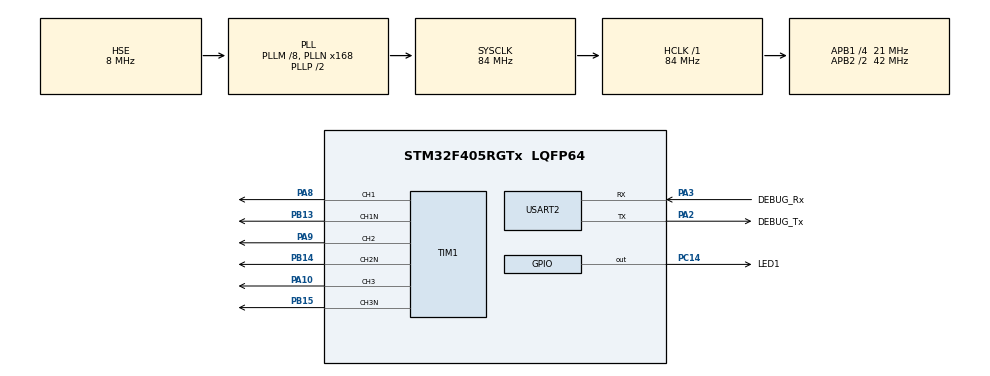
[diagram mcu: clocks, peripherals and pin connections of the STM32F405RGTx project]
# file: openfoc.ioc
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Mcu.Family=STM32F4
Mcu.Name=STM32F405RGTx
Mcu.Package=LQFP64
NVIC.PriorityGroup=NVIC_PRIORITYGROUP_2
NVIC.USART2_IRQn=true\:3\:2\:true\:false\:true\:true\:true\:true
PA10.Signal=S_TIM1_CH3
PA13.Mode=Serial_Wire
PA13.Signal=SYS_JTMS-SWDIO
PA14.Mode=Serial_Wire
PA14.Signal=SYS_JTCK-SWCLK
PA2.GPIO_Label=DEBUG_Tx
PA2.Mode=Asynchronous
PA2.Signal=USART2_TX
PA3.GPIO_Label=DEBUG_Rx
PA3.Mode=Asynchronous
PA3.Signal=USART2_RX
PA8.Signal=S_TIM1_CH1
PA9.Signal=S_TIM1_CH2
PB13.Mode=PWM Generation1 CH1 CH1N
PB13.Signal=TIM1_CH1N
PB14.Mode=PWM Generation2 CH2 CH2N
PB14.Signal=TIM1_CH2N
PB15.Mode=PWM Generation3 CH3 CH3N
PB15.Signal=TIM1_CH3N
PC14-OSC32_IN.GPIO_Label=LED1
PC14-OSC32_IN.Signal=GPIO_Output
PH0-OSC_IN.Mode=HSE-External-Oscillator
PH0-OSC_IN.Signal=RCC_OSC_IN
PH1-OSC_OUT.Mode=HSE-External-Oscillator
PH1-OSC_OUT.Signal=RCC_OSC_OUT
ProjectManager.HeapSize=0x200
ProjectManager.StackSize=0x400
ProjectManager.TargetToolchain=STM32CubeIDE
RCC.48MHZClocksFreq_Value=42000000
RCC.AHBFreq_Value=84000000
RCC.APB1CLKDivider=RCC_HCLK_DIV4
RCC.APB1Freq_Value=21000000
RCC.APB1TimFreq_Value=42000000
RCC.APB2CLKDivider=RCC_HCLK_DIV2
RCC.APB2Freq_Value=42000000
RCC.APB2TimFreq_Value=84000000
RCC.CortexFreq_Value=84000000
RCC.HCLKFreq_Value=84000000
RCC.HSE_VALUE=8000000
RCC.HSI_VALUE=16000000
RCC.LSE_VALUE=32768
RCC.PLLM=8
RCC.PLLN=168
RCC.PLLSourceVirtual=RCC_PLLSOURCE_HSE
RCC.SYSCLKFreq_VALUE=84000000
RCC.SYSCLKSource=RCC_SYSCLKSOURCE_PLLCLK
RCC.VCOOutputFreq_Value=168000000
SH.S_TIM1_CH1.0=TIM1_CH1,PWM Generation1 CH1 CH1N
SH.S_TIM1_CH2.0=TIM1_CH2,PWM Generation2 CH2 CH2N
SH.S_TIM1_CH3.0=TIM1_CH3,PWM Generation3 CH3 CH3N
TIM1.AutoReloadPreload=TIM_AUTORELOAD_PRELOAD_ENABLE
TIM1.Channel-PWM\ Generation1\ CH1\ CH1N=TIM_CHANNEL_1
TIM1.Channel-PWM\ Generation2\ CH2\ CH2N=TIM_CHANNEL_2
TIM1.Channel-PWM\ Generation3\ CH3\ CH3N=TIM_CHANNEL_3
TIM1.DeadTime=10
USART2.VirtualMode=VM_ASYNC
board=custom

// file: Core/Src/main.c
/* USER CODE BEGIN Header */
/**
  ******************************************************************************
  * @file           : main.c
  * @brief          : Main program body
  ******************************************************************************
  * @attention
  *
  * Copyright (c) 2023 STMicroelectronics.
  * All rights reserved.
  *
  * This software is licensed under terms that can be found in the LICENSE file
  * in the root directory of this software component.
  * If no LICENSE file comes with this software, it is provided AS-IS.
  *
  ******************************************************************************
  */
/* USER CODE END Header */
#include "main.h"
#include "tim.h"
#include "usart.h"
#include "gpio.h"

/* USER CODE BEGIN Includes */
#include <stdio.h>
#include <stdlib.h>
#include "BLDCMotor.h"
/* USER CODE END Includes */

/* USER CODE BEGIN PM */
void commander_run(void);
/* USER CODE END PM */

/* USER CODE BEGIN PV */
float target = 20;
/* USER CODE END PV */

void SystemClock_Config(void);
/* USER CODE BEGIN PFP */
void commander_run(void);
/* USER CODE END PFP */

/* USER CODE BEGIN 0 */
void systick_CountMode(void)
{
  SysTick->LOAD = 0xFFFFFF-1;      //set reload register
  SysTick->VAL  = 0;
  SysTick->CTRL = SysTick_CTRL_ENABLE_Msk; //Enable SysTick Timer
}
/* USER CODE END 0 */

int main(void)
{

  /* MCU Configuration--------------------------------------------------------*/

  /* Reset of all peripherals, Initializes the Flash interface and the Systick. */
  HAL_Init();

  /* Configure the system clock */
  SystemClock_Config();

  /* Initialize all configured peripherals */
  MX_GPIO_Init();
  MX_TIM1_Init();
  MX_USART2_UART_Init();
  /* USER CODE BEGIN 2 */

  controller = Type_velocity_openloop;
  voltage_power_supply = 12;  // 电压
  // 大功率航模电机设置的小一点0.5-1；小功率云台电机设置的大一点1-3
  voltage_limit = 0.7;        // V，最大值需小于12/1.732=6.9
  velocity_limit = 20;        // rad/s angleOpenloop() use it
  pole_pairs = 7;             // 极对数

  systick_CountMode();

  /* USER CODE END 2 */

  /* Infinite loop */
  /* USER CODE BEGIN WHILE */
  while (1)
  {
    move(target);
    commander_run();
    /* USER CODE END WHILE */

  }
}

void SystemClock_Config(void)
{
  RCC_OscInitTypeDef RCC_OscInitStruct = {0};
  RCC_ClkInitTypeDef RCC_ClkInitStruct = {0};

  /** Configure the main internal regulator output voltage
  */
  __HAL_RCC_PWR_CLK_ENABLE();
  __HAL_PWR_VOLTAGESCALING_CONFIG(PWR_REGULATOR_VOLTAGE_SCALE1);

  /** Initializes the RCC Oscillators according to the specified parameters
  * in the RCC_OscInitTypeDef structure.
  */
  RCC_OscInitStruct.OscillatorType = RCC_OSCILLATORTYPE_HSE;
  RCC_OscInitStruct.HSEState = RCC_HSE_ON;
  RCC_OscInitStruct.PLL.PLLState = RCC_PLL_ON;
  RCC_OscInitStruct.PLL.PLLSource = RCC_PLLSOURCE_HSE;
  RCC_OscInitStruct.PLL.PLLM = 8;
  RCC_OscInitStruct.PLL.PLLN = 168;
  RCC_OscInitStruct.PLL.PLLP = RCC_PLLP_DIV2;
  RCC_OscInitStruct.PLL.PLLQ = 4;
  if (HAL_RCC_OscConfig(&RCC_OscInitStruct) != HAL_OK)
  {
    Error_Handler();
  }

  /** Initializes the CPU, AHB and APB buses clocks
  */
  RCC_ClkInitStruct.ClockType = RCC_CLOCKTYPE_HCLK|RCC_CLOCKTYPE_SYSCLK
                              |RCC_CLOCKTYPE_PCLK1|RCC_CLOCKTYPE_PCLK2;
  RCC_ClkInitStruct.SYSCLKSource = RCC_SYSCLKSOURCE_PLLCLK;
  RCC_ClkInitStruct.AHBCLKDivider = RCC_SYSCLK_DIV1;
  RCC_ClkInitStruct.APB1CLKDivider = RCC_HCLK_DIV4;
  RCC_ClkInitStruct.APB2CLKDivider = RCC_HCLK_DIV2;

  if (HAL_RCC_ClockConfig(&RCC_ClkInitStruct, FLASH_LATENCY_2) != HAL_OK)
  {
    Error_Handler();
  }
}

/* USER CODE BEGIN 4 */

void commander_run(void)
{
  if((USART_RX_STA&0x8000)!=0)
  {
    switch(USART_RX_BUF[0])
    {
      case 'H':
        printf("Hello World!\r\n");
        break;
      case 'T':   //T6.28
        target=atof((const char *)(USART_RX_BUF+1));
        printf("RX=%.4f\r\n", target);
        break;
    }
    USART_RX_STA=0;
  }
}

/* USER CODE END 4 */

void Error_Handler(void)
{
  __disable_irq();
  while (1)
  {
  }
}
